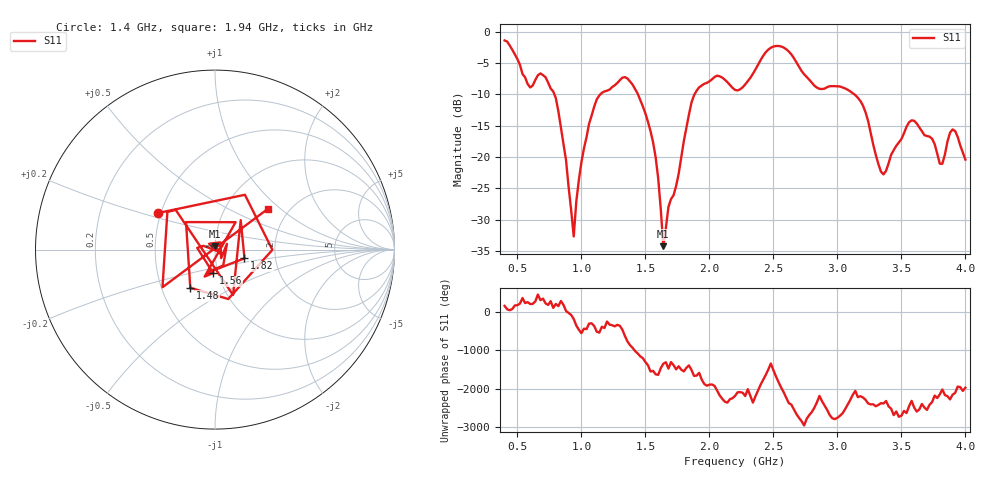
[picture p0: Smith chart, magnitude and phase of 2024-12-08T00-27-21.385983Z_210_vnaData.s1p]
!Created with skrf (http://scikit-rf.org).
# Hz S RI R 50.0
!freq ReS11 ImS11
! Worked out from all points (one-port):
!   181 points, 400 MHz to 4 GHz, reference 50 ohm
!   lowest |S11| = -34.2 dB at 1.64 GHz (marker M1), VSWR 1.04, Z = 49.9 + j1.95 ohm
!   |S11| at or under -10 dB: 788.7 MHz to 1.148 GHz (359.2 MHz wide, 37.1 % of centre); 1.442 GHz to 1.884 GHz (441.9 MHz wide, 26.6 % of centre); 3.132 GHz to end of sweep
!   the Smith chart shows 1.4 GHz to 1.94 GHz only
!   S11 on the Smith chart (normalised r, x): 1.4 GHz: 0.48, +0.23; 1.48 GHz: 0.70, -0.32; 1.56 GHz: 0.95, -0.25; 1.82 GHz: 1.38, -0.14; 1.94 GHz: 1.57, +0.83
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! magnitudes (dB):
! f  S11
! 400 MHz  -1.4
! 600 MHz  -8.9
! 720 MHz  -7.3
! 800 MHz  -10.6
! 860 MHz  -17.8
! 940 MHz  -32.6
! 980 MHz  -23.7
! 1.06 GHz  -14.7
! 1.3 GHz  -7.7
! 1.4 GHz  -8.5
! 1.48 GHz  -11.9
! 1.56 GHz  -17.6
! 1.6 GHz  -23.4
! 1.64 GHz  -34.2
! 1.76 GHz  -22.6
! 1.82 GHz  -15.3
! 1.94 GHz  -8.6
! 2.2 GHz  -9.3
! 2.48 GHz  -2.6
! 2.66 GHz  -4.2
! 2.84 GHz  -8.9
! 3.1 GHz  -9.5
! 3.2 GHz  -11.8
! 3.36 GHz  -22.8
! 3.56 GHz  -14.4
! 3.8 GHz  -21.1
! 3.92 GHz  -15.9
! 4 GHz  -20.4
